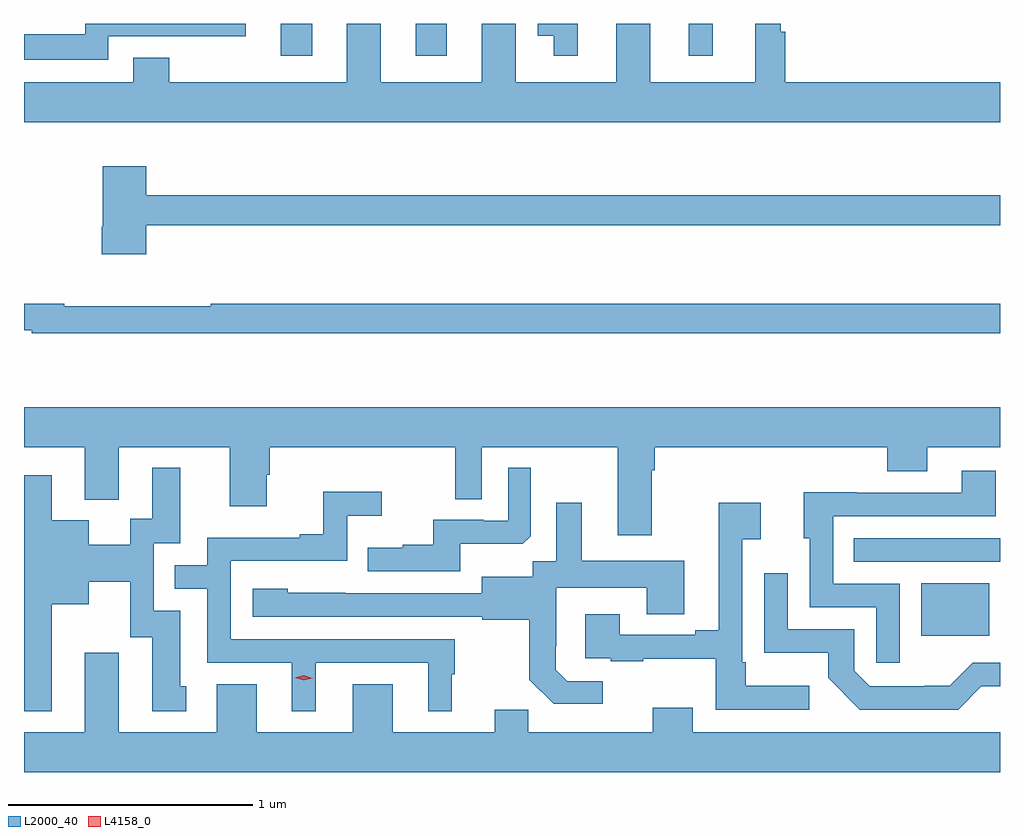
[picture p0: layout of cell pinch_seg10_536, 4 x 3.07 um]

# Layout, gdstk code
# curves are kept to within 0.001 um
import gdstk
lib = gdstk.Library(unit=1e-6, precision=1e-09)
def R(c, l, rs):  # rectangles x0, y0, x1, y1
    for r in rs: c.add(gdstk.rectangle(r[:2], r[2:], *l))
def P(c, l, *ps):  # polygons
    for p in ps: c.add(gdstk.Polygon(p, *l))
L2000_40 = (2000, 40)
L4158_0 = (4158, 0)

pinch_seg10_536 = lib.new_cell('pinch_seg10_536')
R(pinch_seg10_536, L2000_40, [(324.758,1263.578,325.036,1263.793), (324.481,1263.882,325.08,1263.978), (322.133,1265.955,322.261,1266.086), (322.685,1265.955,322.813,1266.086), (323.804,1265.955,323.902,1266.086)])
P(pinch_seg10_536, L2000_40, [(321.426,1266.036),(321.988,1266.036),(321.988,1266.086),(321.33,1266.086),(321.33,1266.043),(321.08,1266.043),(321.08,1265.939),(321.426,1265.939)],
  [(325.08,1265.848),(324.199,1265.848),(324.199,1266.053),(324.181,1266.053),(324.181,1266.086),(324.077,1266.086),(324.077,1265.848),(323.647,1265.848),(323.647,1266.086),(323.507,1266.086),(323.507,1265.848),(323.095,1265.848),(323.095,1266.086),(322.955,1266.086),(322.955,1265.848),(322.543,1265.848),(322.543,1266.086),(322.403,1266.086),(322.403,1265.848),(321.675,1265.848),(321.675,1265.947),(321.527,1265.947),(321.527,1265.848),(321.08,1265.848),(321.08,1265.684),(325.08,1265.684)],
  [(323.35,1266.086),(323.186,1266.086),(323.186,1266.038),(323.252,1266.038),(323.252,1265.955),(323.35,1265.955)],
  [(321.581,1265.262),(325.08,1265.262),(325.08,1265.383),(321.581,1265.383),(321.581,1265.503),(321.403,1265.503),(321.403,1265.254),(321.398,1265.254),(321.398,1265.142),(321.581,1265.142)],
  [(325.08,1264.939),(321.845,1264.939),(321.845,1264.928),(321.245,1264.928),(321.245,1264.939),(321.08,1264.939),(321.08,1264.83),(321.112,1264.83),(321.112,1264.818),(325.08,1264.818)],
  [(323.653,1264.256),(323.666,1264.256),(323.666,1264.352),(324.617,1264.352),(324.617,1264.253),(324.781,1264.253),(324.781,1264.352),(325.08,1264.352),(325.08,1264.516),(321.08,1264.516),(321.08,1264.352),(321.329,1264.352),(321.329,1264.136),(321.469,1264.136),(321.469,1264.352),(321.923,1264.352),(321.923,1264.11),(322.075,1264.11),(322.075,1264.239),(322.088,1264.239),(322.088,1264.352),(322.848,1264.352),(322.848,1264.138),(322.956,1264.138),(322.956,1264.352),(323.513,1264.352),(323.513,1263.99),(323.653,1263.99)],
  [(322.867,1263.956),(323.125,1263.956),(323.157,1263.987),(323.157,1264.267),(323.064,1264.267),(323.064,1264.05),(322.964,1264.05),(322.964,1264.053),(322.757,1264.053),(322.757,1263.952),(322.633,1263.952),(322.633,1263.94),(322.489,1263.94),(322.489,1263.843),(322.867,1263.843)],
  [(321.193,1263.707),(321.346,1263.707),(321.346,1263.8),(321.516,1263.8),(321.516,1263.573),(321.605,1263.573),(321.605,1263.27),(321.745,1263.27),(321.745,1263.372),(321.721,1263.372),(321.721,1263.681),(321.612,1263.681),(321.612,1263.957),(321.721,1263.957),(321.721,1264.267),(321.605,1264.267),(321.605,1264.058),(321.515,1264.058),(321.515,1263.952),(321.346,1263.952),(321.346,1264.051),(321.193,1264.051),(321.193,1264.237),(321.08,1264.237),(321.08,1263.269),(321.193,1263.269)],
  [(324.669,1263.792),(324.396,1263.792),(324.396,1264.068),(325.063,1264.068),(325.063,1264.255),(324.923,1264.255),(324.923,1264.164),(324.493,1264.164),(324.493,1264.166),(324.275,1264.166),(324.275,1263.978),(324.3,1263.978),(324.3,1263.696),(324.573,1263.696),(324.573,1263.468),(324.669,1263.468)],
  [(322.276,1263.468),(322.736,1263.468),(322.736,1263.269),(322.834,1263.269),(322.834,1263.42),(322.846,1263.42),(322.846,1263.564),(321.927,1263.564),(321.927,1263.885),(322.404,1263.885),(322.404,1264.07),(322.546,1264.07),(322.546,1264.169),(322.306,1264.169),(322.306,1263.994),(322.211,1263.994),(322.211,1263.981),(321.831,1263.981),(321.831,1263.867),(321.697,1263.867),(321.697,1263.771),(321.831,1263.771),(321.831,1263.468),(322.178,1263.468),(322.178,1263.269),(322.276,1263.269)],
  [(323.452,1263.393),(323.307,1263.393),(323.26,1263.44),(323.26,1263.535),(323.262,1263.535),(323.262,1263.776),(323.633,1263.776),(323.633,1263.667),(323.785,1263.667),(323.785,1263.886),(323.365,1263.886),(323.365,1264.123),(323.261,1264.123),(323.261,1263.884),(323.166,1263.884),(323.166,1263.82),(322.955,1263.82),(322.955,1263.753),(322.161,1263.754),(322.161,1263.772),(322.017,1263.772),(322.017,1263.657),(322.959,1263.657),(322.959,1263.645),(323.151,1263.645),(323.151,1263.399),(323.251,1263.299),(323.452,1263.299)],
  [(324.298,1263.373),(324.037,1263.373),(324.037,1263.469),(324.024,1263.469),(324.024,1263.974),(324.1,1263.974),(324.1,1264.123),(323.927,1264.123),(323.927,1263.601),(323.831,1263.601),(323.831,1263.582),(323.521,1263.582),(323.521,1263.667),(323.381,1263.667),(323.381,1263.486),(323.485,1263.486),(323.485,1263.474),(323.617,1263.474),(323.617,1263.485),(323.916,1263.485),(323.916,1263.276),(324.298,1263.276)],
  [(325.004,1263.371),(325.08,1263.371),(325.08,1263.468),(324.969,1263.468),(324.875,1263.374),(324.77,1263.374),(324.77,1263.372),(324.546,1263.372),(324.483,1263.435),(324.483,1263.606),(324.21,1263.606),(324.21,1263.835),(324.114,1263.835),(324.114,1263.509),(324.376,1263.509),(324.376,1263.407),(324.506,1263.276),(324.909,1263.276)],
  [(323.657,1263.283),(323.657,1263.184),(323.147,1263.184),(323.147,1263.275),(323.009,1263.275),(323.009,1263.184),(322.591,1263.184),(322.591,1263.379),(322.427,1263.379),(322.427,1263.184),(322.033,1263.184),(322.033,1263.379),(321.869,1263.379),(321.869,1263.184),(321.469,1263.184),(321.469,1263.508),(321.329,1263.508),(321.329,1263.184),(321.08,1263.184),(321.08,1263.02),(325.08,1263.02),(325.08,1263.184),(323.821,1263.184),(323.821,1263.283)])
P(pinch_seg10_536, L4158_0, [(322.227,1263.396),(322.192,1263.406),(322.191,1263.406),(322.192,1263.406),(322.227,1263.416),(322.262,1263.405),(322.263,1263.405),(322.262,1263.405)])

lib.write_gds('pinch_seg10_536.gds')
